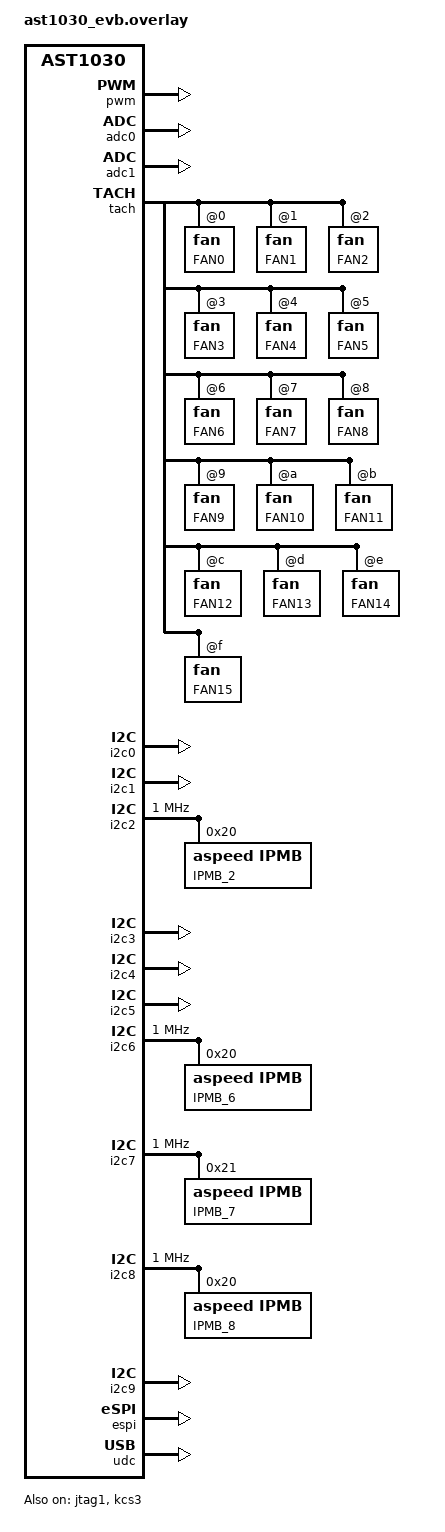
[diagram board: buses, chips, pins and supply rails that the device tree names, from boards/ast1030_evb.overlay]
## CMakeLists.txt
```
# SPDX-License-Identifier: Apache-2.0

cmake_minimum_required(VERSION 3.13.1)

find_package(Zephyr REQUIRED HINTS $ENV{ZEPHYR_BASE})
project(yv35-cl)

set(common_path ../../common)
FILE(GLOB app_sources src/*.c src/ipmi/*.c src/sensor/*.c src/sensor/dev/*.c src/platform/*.c )
FILE(GLOB common_sources ${common_path}/*.c ${common_path}/ipmi/*.c ${common_path}/host/*.c ${common_path}/sensor/*.c ${common_path}/util/*.c) 
target_sources(app PRIVATE ${app_sources})
target_sources(app PRIVATE ${common_sources})
target_include_directories(app PRIVATE ${ZEPHYR_BASE}/include/portability)
target_include_directories(app PRIVATE ${common_path} ${common_path}/ipmi/include ${common_path}/host ${common_path}/sensor ${common_path}/util)
target_include_directories(app PRIVATE src/ipmi/include src/platform src/sensor)
```

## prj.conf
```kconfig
# cmsis-os2
CONFIG_CMSIS_RTOS_V2=y
CONFIG_NUM_PREEMPT_PRIORITIES=56
#CONFIG_HEAP_MEM_POOL_SIZE=16384
#CONFIG_CMSIS_V2_MSGQ_MAX_DYNAMIC_SIZE=32768
CONFIG_HEAP_MEM_POOL_SIZE=32768
CONFIG_CMSIS_V2_MSGQ_MAX_DYNAMIC_SIZE=8000
CONFIG_POLL=y
CONFIG_THREAD_NAME=y
CONFIG_THREAD_STACK_INFO=y
CONFIG_THREAD_MONITOR=y
CONFIG_IRQ_OFFLOAD=y
CONFIG_INIT_STACKS=y
CONFIG_MAX_THREAD_BYTES=4
CONFIG_SCHED_SCALABLE=y
CONFIG_CMSIS_V2_MEM_SLAB_MAX_DYNAMIC_SIZE=128
CONFIG_CMSIS_V2_THREAD_MAX_COUNT=23
CONFIG_CMSIS_V2_THREAD_DYNAMIC_MAX_COUNT=10
CONFIG_TIMEOUT_64BIT=n
CONFIG_MP_NUM_CPUS=1

# disable for qemu delay too short issue
CONFIG_QEMU_ICOUNT=n

# define aspeed driver
CONFIG_GPIO=y
CONFIG_SPI=y
CONFIG_SPI_NOR_MULTI_DEV=y
CONFIG_I2C=y
CONFIG_THREAD_RUNTIME_STATS=y
CONFIG_GPIO_SHELL=y
CONFIG_I2C_SLAVE=y
CONFIG_I2C_EEPROM_SLAVE=y
CONFIG_I2C_IPMB_SLAVE=y
CONFIG_PWM=y
CONFIG_ADC=y
CONFIG_JTAG=y
CONFIG_FLASH=y
CONFIG_FLASH_SHELL=y
CONFIG_SENSOR=y
CONFIG_HWINFO=y
CONFIG_ESPI=y
CONFIG_PECI=y
CONFIG_MINIMAL_LIBC_MALLOC_ARENA_SIZE=102400
CONFIG_REBOOT=y
CONFIG_POSIX_CLOCK=y
CONFIG_STACK_SENTINEL=y
CONFIG_LOG=y
CONFIG_LOG_BACKEND_UART=y
CONFIG_SHELL=y
CONFIG_SHELL_BACKEND_SERIAL_INIT_PRIORITY=99
CONFIG_IPMI=y
CONFIG_IPMI_KCS_ASPEED=y
CONFIG_I3C=y
CONFIG_I3C_SLAVE=y
CONFIG_I3C_SLAVE_MQUEUE=y
#USB
CONFIG_USB=y
CONFIG_USB_DEVICE_STACK=y
CONFIG_USB_DEVICE_PRODUCT="Zephyr CDC ACM"
CONFIG_USB_CDC_ACM=y
CONFIG_USB_CDC_ACM_RINGBUF_SIZE=576
CONFIG_USB_DEVICE_VID=0x1d6b
CONFIG_USB_DEVICE_PID=0x0104
CONFIG_LOG_BUFFER_SIZE=5120
#USB

CONFIG_USERSPACE=y
CONFIG_KERNEL_BIN_NAME="Y35BCL"
```

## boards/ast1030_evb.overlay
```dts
&pwm {
	status = "okay";
	pinctrl-0 = <&pinctrl_pwm0_default &pinctrl_pwm1_default
			&pinctrl_pwm2_default &pinctrl_pwm3_default
			&pinctrl_pwm4_default &pinctrl_pwm5_default
			&pinctrl_pwm6_default &pinctrl_pwm7_default
			&pinctrl_pwm8_default &pinctrl_pwm9_default
			&pinctrl_pwm10_default &pinctrl_pwm11_default
			&pinctrl_pwm12_default &pinctrl_pwm13_default
			&pinctrl_pwm14_default &pinctrl_pwm15_default>;

};

&adc0 {
	status = "okay";
	pinctrl-0 = <&pinctrl_adc0_default &pinctrl_adc1_default
		&pinctrl_adc2_default &pinctrl_adc3_default
		&pinctrl_adc4_default &pinctrl_adc5_default
		&pinctrl_adc6_default &pinctrl_adc7_default>;
};

&adc1 {
	status = "okay";
	pinctrl-0 = <&pinctrl_adc8_default &pinctrl_adc9_default
		&pinctrl_adc10_default &pinctrl_adc11_default
		&pinctrl_adc12_default &pinctrl_adc13_default
		&pinctrl_adc14_default &pinctrl_adc15_default>;
};

&jtag1{
	status = "okay";
};

&tach {
	status = "okay";
	pinctrl-0 = <&pinctrl_tach0_default &pinctrl_tach1_default
			&pinctrl_tach2_default &pinctrl_tach3_default
			&pinctrl_tach4_default &pinctrl_tach5_default
			&pinctrl_tach6_default &pinctrl_tach7_default
			&pinctrl_tach8_default &pinctrl_tach9_default
			&pinctrl_tach10_default &pinctrl_tach11_default
			&pinctrl_tach12_default &pinctrl_tach13_default
			&pinctrl_tach14_default &pinctrl_tach15_default>;
	fan@0 {
		reg = <0>;
		pulse-pr = <2>;
		min-rpm = <1000>;
		tach-div = <5>;
		label = "FAN0";
	};

	fan@1 {
		reg = <1>;
		pulse-pr = <2>;
		min-rpm = <1000>;
		tach-div = <5>;
		label = "FAN1";
	};

	fan@2 {
		reg = <2>;
		pulse-pr = <2>;
		min-rpm = <1000>;
		tach-div = <5>;
		label = "FAN2";
	};

	fan@3 {
		reg = <3>;
		pulse-pr = <2>;
		min-rpm = <1000>;
		tach-div = <5>;
		label = "FAN3";
	};

	fan@4 {
		reg = <4>;
		pulse-pr = <2>;
		min-rpm = <1000>;
		tach-div = <5>;
		label = "FAN4";
	};

	fan@5 {
		reg = <5>;
		pulse-pr = <2>;
		min-rpm = <1000>;
		tach-div = <5>;
		label = "FAN5";
	};

	fan@6 {
		reg = <6>;
		pulse-pr = <2>;
		min-rpm = <1000>;
		tach-div = <5>;
		label = "FAN6";
	};

	fan@7 {
		reg = <7>;
		pulse-pr = <2>;
		min-rpm = <1000>;
		tach-div = <5>;
		label = "FAN7";
	};

	fan@8 {
		reg = <8>;
		pulse-pr = <2>;
		min-rpm = <1000>;
		tach-div = <5>;
		label = "FAN8";
	};

	fan@9 {
		reg = <9>;
		pulse-pr = <2>;
		min-rpm = <1000>;
		tach-div = <5>;
		label = "FAN9";
	};

	fan@a {
		reg = <0xa>;
		pulse-pr = <2>;
		min-rpm = <1000>;
		tach-div = <5>;
		label = "FAN10";
	};

	fan@b {
		reg = <0xb>;
		pulse-pr = <2>;
		min-rpm = <1000>;
		tach-div = <5>;
		label = "FAN11";
	};

	fan@c {
		reg = <0xc>;
		pulse-pr = <2>;
		min-rpm = <1000>;
		tach-div = <5>;
		label = "FAN12";
	};

	fan@d {
		reg = <0xd>;
		pulse-pr = <2>;
		min-rpm = <1000>;
		tach-div = <5>;
		label = "FAN13";
	};

	fan@e {
		reg = <0xe>;
		pulse-pr = <2>;
		min-rpm = <1000>;
		tach-div = <5>;
		label = "FAN14";
	};

	fan@f {
		reg = <0xf>;
		pulse-pr = <2>;
		min-rpm = <1000>;
		tach-div = <5>;
		label = "FAN15";
	};
};

&i2c0 {
	pinctrl-0 = <&pinctrl_i2c0_default>;
	status = "okay";

};

&i2c1 {
	pinctrl-0 = <&pinctrl_i2c1_default>;
	status = "okay";

};

&i2c2 {
	pinctrl-0 = <&pinctrl_i2c2_default>;
  clock-frequency = <I2C_BITRATE_FAST_PLUS>;
	status = "okay";

	ipmb2: ipmb@20 {
		compatible = "aspeed,ipmb";
		reg = <0x20>;
		label = "IPMB_2";
		size = <10>;
#ifdef CONFIG_I2C_IPMB_SLAVE
		status = "okay";
#endif
	};

};

&i2c3 {
	pinctrl-0 = <&pinctrl_i2c3_default>;
	status = "okay";

};

&i2c4 {
	pinctrl-0 = <&pinctrl_i2c4_default>;
	status = "okay";

};

&i2c5 {
	pinctrl-0 = <&pinctrl_i2c5_default>;
	status = "okay";

};

&i2c6 {
	pinctrl-0 = <&pinctrl_i2c6_default>;
  clock-frequency = <I2C_BITRATE_FAST_PLUS>;
	status = "okay";

	ipmb6: ipmb@20 {
		compatible = "aspeed,ipmb";
		reg = <0x20>;
		label = "IPMB_6";
		size = <10>;
		status = "okay";
	};
};

&i2c7 {
	pinctrl-0 = <&pinctrl_i2c7_default>;
  clock-frequency = <I2C_BITRATE_FAST_PLUS>;
	status = "okay";

	ipmb7: ipmb@20 {
		compatible = "aspeed,ipmb";
		reg = <0x21>;
		label = "IPMB_7";
		size = <10>;
#ifdef CONFIG_I2C_IPMB_SLAVE
		status = "okay";
#endif
	};

};

&i2c8 {
	pinctrl-0 = <&pinctrl_i2c8_default>;
  clock-frequency = <I2C_BITRATE_FAST_PLUS>;
	status = "okay";

	ipmb8: ipmb@20 {
		compatible = "aspeed,ipmb";
		reg = <0x20>;
		label = "IPMB_8";
		size = <10>;
#ifdef CONFIG_I2C_IPMB_SLAVE
		status = "okay";
#endif
	};

};

&i2c9 {
	pinctrl-0 = <&pinctrl_i2c9_default>;
	status = "okay";

};

&espi {
	status = "okay";

	perif,dma-mode;
	perif,memcyc-src-addr = <0x98000000>;
	perif,memcyc-size = <0x10000>;

	oob,dma-mode;

	flash,dma-mode;
	flash,safs-mode = <0x1>;
};

&udc {
	status = "okay";
};

&kcs3 {
  status = "okay";
  addr = <0xca2>;
};
```

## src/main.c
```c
/*
 * Copyright (c) 2012-2014 Wind River Systems, Inc.
 *
 * SPDX-License-Identifier: Apache-2.0
 */

#include <zephyr.h>
#include <kernel.h>
#include <cmsis_os2.h>
#include <sys/printk.h>
#include "worker.h"
#include "sensor.h"
#include "hal_i2c.h"
#include "plat_gpio.h"
#include "ipmi_def.h"
#include "ipmi.h"
#include "kcs.h"

void device_init(){
  adc_init();
  peci_init();
}

void set_sys_status() {
  gpio_set(BIC_READY, GPIO_HIGH);
}

void main(void)
{
  uint8_t proj_stage = (FIRMWARE_REVISION_1 & 0xf0) >> 4;
  printk("Hello, wellcome to yv35 craterlake POC %d\n", FIRMWARE_REVISION_2);

  util_init_timer();
  util_init_I2C();
  util_spi_init();

  gpio_init();
  sensor_init();
  FRU_init();
  ipmi_init();
  kcs_init();
  usb_dev_init();
  device_init();
  set_sys_status();
}
```
